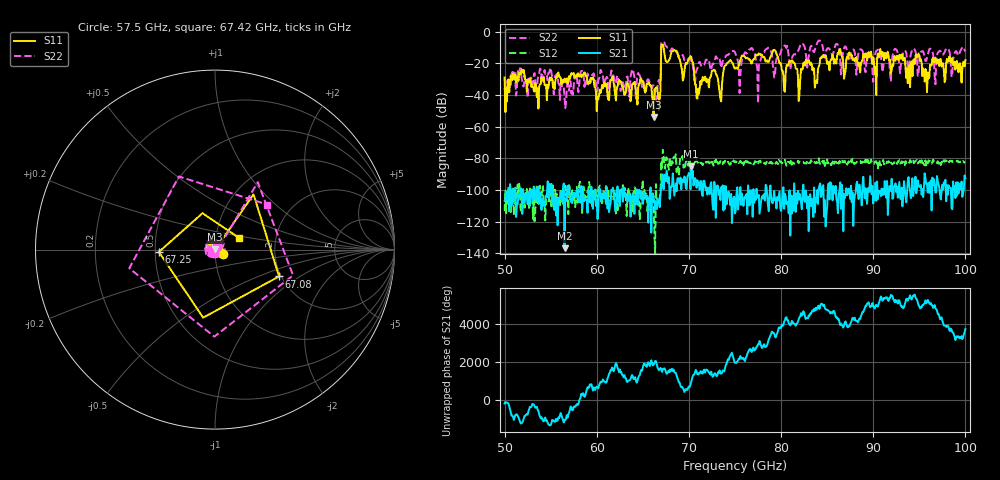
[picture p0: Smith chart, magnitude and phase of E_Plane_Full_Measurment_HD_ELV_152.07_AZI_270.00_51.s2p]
! 11/26/2026 3:42:32 PM
! C:\ANRITSUVNA\TEMP\TEMP.S2P
! CHANNEL.1
! TR.MEASUREMENT
! RAW.DATA
# HZ S RI R 50.0
! FREQ.HZ  S11RE  S11IM  S21RE  S21IM  S12RE  S12IM  S22RE  S22IM
!; PortSelection: Port_12
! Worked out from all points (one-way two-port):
!   601 points, 50 GHz to 100 GHz, reference 50 ohm
!   highest |S21| = -85.02 dB at 70.25 GHz (marker M1); lowest = -137.0 dB at 56.5 GHz (marker M2)
!   lowest |S11| = -53.8 dB at 66.17 GHz (marker M3), VSWR 1.00, Z = 50.1 + j0.148 ohm
!   |S11| at or under -10 dB: start of sweep to 67 GHz; 67.25 GHz to end of sweep
!   |S22| runs from -48.3 to -5.6 dB; largest |S21 - S12| = 0.00021
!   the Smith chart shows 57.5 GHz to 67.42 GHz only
!   S11 on the Smith chart (normalised r, x): 57.5 GHz: 1.09, -0.05; 67.08 GHz: 1.95, -0.69; 67.25 GHz: 0.52, -0.02; 67.42 GHz: 1.29, +0.18
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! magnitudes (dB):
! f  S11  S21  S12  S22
! 50 GHz  -28.9  -107.0  -113.5  -35.6
! 54.83 GHz  -31.7  -105.0  -107.8  -25.9
! 56.5 GHz  -29.7  -137.0  -103.2  -41.8
! 57.5 GHz  -26.1  -102.3  -104.6  -34.6
! 58.42 GHz  -27.2  -111.7  -114.6  -24.8
! 60.17 GHz  -42.7  -112.7  -99.6  -30.4
! 66.17 GHz  -53.8  -105.7  -103.6  -34.0
! 66.67 GHz  -41.5  -107.0  -106.5  -31.6
! 67.08 GHz  -8.2  -90.3  -86.1  -6.8
! 67.25 GHz  -10.1  -99.6  -78.1  -6.2
! 67.42 GHz  -16.6  -90.3  -86.6  -8.3
! 70.25 GHz  -15.9  -85.0  -89.3  -18.8
! 70.92 GHz  -42.4  -93.9  -82.6  -23.2
! 75 GHz  -23.3  -114.9  -82.5  -12.9
! 79.25 GHz  -11.5  -100.7  -82.4  -28.9
! 80.25 GHz  -27.8  -98.3  -82.0  -9.3
! 83.42 GHz  -24.4  -108.3  -81.7  -10.8
! 91.67 GHz  -16.6  -105.8  -81.8  -15.2
! 93.75 GHz  -32.6  -93.9  -82.1  -21.3
! 94.83 GHz  -15.1  -94.0  -83.3  -27.9
! 95.83 GHz  -38.2  -96.9  -82.6  -16.4
! 100 GHz  -18.0  -92.5  -82.5  -12.5
